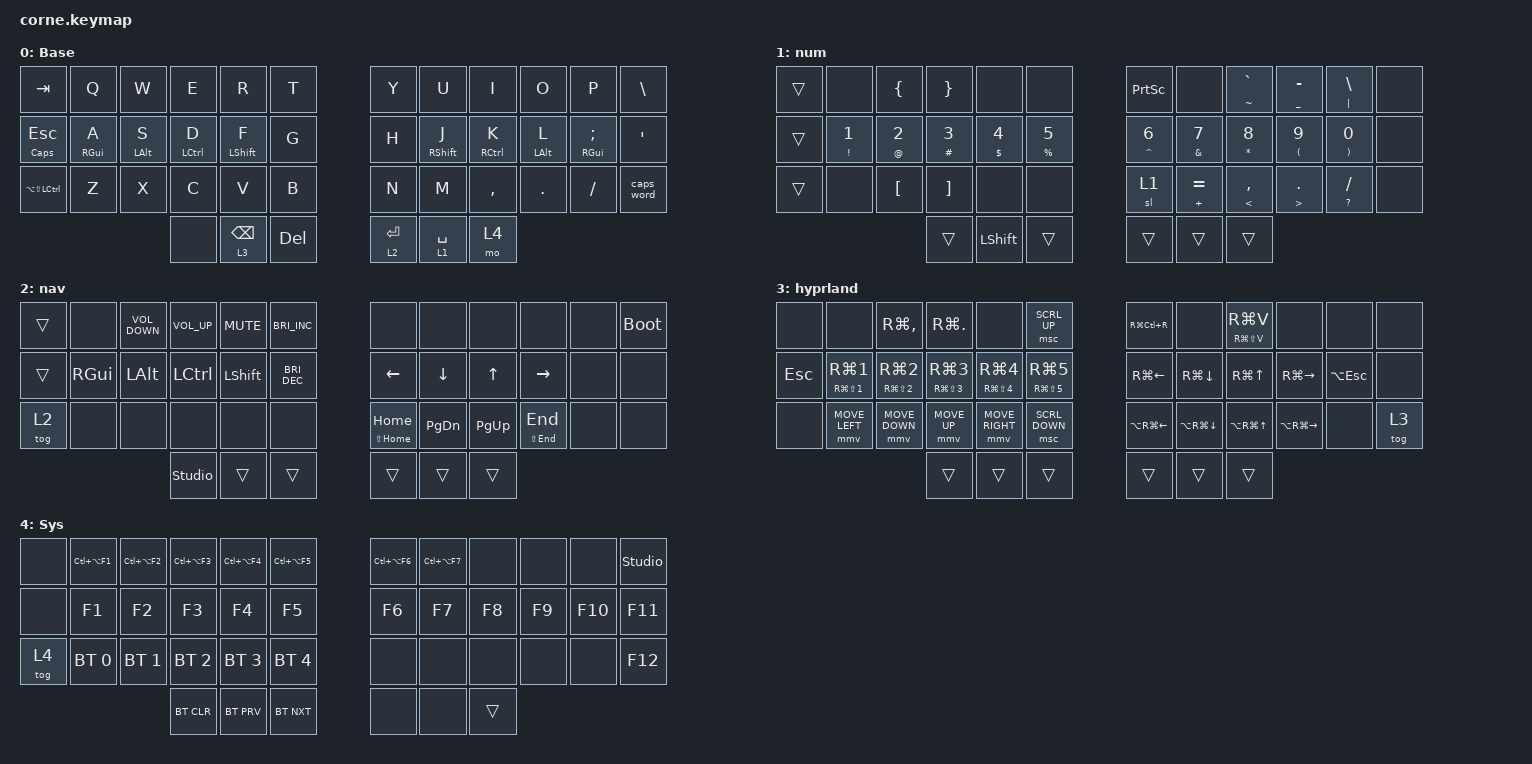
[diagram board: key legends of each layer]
#include <behaviors.dtsi>
#include <dt-bindings/zmk/bt.h>
#include <dt-bindings/zmk/keys.h>
#include <dt-bindings/zmk/pointing.h>

#define DEF 0
#define NAV 1
#define SYM 2
#define ADJ 3
#define EXTRA 4

/ {
    behaviors {
        hm: homerow_mods {
            compatible = "zmk,behavior-hold-tap";
            label = "HOMEROW_MODS";
            #binding-cells = <2>;
            tapping-term-ms = <200>;
            quick_tap_ms = <0>;
            flavor = "tap-preferred";
            bindings = <&kp>, <&kp>;

            quick-tap-ms = <180>;
            global-quick-tap;
        };

        para: para {
            compatible = "zmk,behavior-tap-dance";
            label = "PARA";
            #binding-cells = <0>;
            bindings = <&kp LEFT_PARENTHESIS>, <&kp RIGHT_PARENTHESIS>;
        };

        caps: caps {
            compatible = "zmk,behavior-caps-word";
            label = "CAPS";
            #binding-cells = <0>;
            continue-list = <MINUS BACKSPACE>;
        };

        paraless: paraless {
            compatible = "zmk,behavior-mod-morph";
            label = "PARALESS";
            bindings = <&kp LEFT_PARENTHESIS>, <&kp LESS_THAN>;

            #binding-cells = <0>;
            mods = <(MOD_LSFT)>;
        };

        paragreat: paragreat {
            compatible = "zmk,behavior-mod-morph";
            label = "PARAGREAT";
            bindings = <&kp RIGHT_PARENTHESIS>, <&kp GREATER_THAN>;

            #binding-cells = <0>;
            mods = <(MOD_LSFT)>;
        };
    };

    macros {
        browsertab: browsertab {
            compatible = "zmk,behavior-macro";
            #binding-cells = <0>;
            bindings =
                <&macro_press>,
                <&kp LCTRL>,
                <&macro_tap>,
                <&kp TAB>,
                <&macro_release>,
                <&kp LCTRL>;
        };
    };

    combos {
        compatible = "zmk,combos";

        escape {
            bindings = <&kp ESCAPE>;
            key-positions = <13 29>;
        };

        delete {
            bindings = <&kp DELETE>;
            key-positions = <15 21>;
        };

        perc {
            bindings = <&kp PERCENT>;
            key-positions = <5 17>;
        };

        equal {
            bindings = <&kp EQUAL>;
            key-positions = <28 16>;
        };

        dollar {
            bindings = <&kp DOLLAR>;
            key-positions = <4 16>;
        };

        pound {
            bindings = <&kp POUND>;
            key-positions = <3 15>;
        };

        at {
            bindings = <&kp AT>;
            key-positions = <2 14>;
        };

        backslash {
            bindings = <&kp BACKSLASH>;
            key-positions = <26 14>;
        };

        copy {
            bindings = <&kp K_COPY>;
            key-positions = <28 27>;
        };

        paste {
            bindings = <&kp K_PASTE>;
            key-positions = <26 27>;
        };

        star {
            bindings = <&kp STAR>;
            key-positions = <8 20>;
        };

        slash {
            bindings = <&kp SLASH>;
            key-positions = <32 20>;
        };

        plus {
            bindings = <&kp PLUS>;
            key-positions = <7 19>;
        };

        minus {
            bindings = <&kp KP_MINUS>;
            key-positions = <31 19>;
        };

        underscore {
            bindings = <&kp UNDER>;
            key-positions = <30 18>;
        };

        leftbrack {
            bindings = <&kp LEFT_BRACKET>;
            key-positions = <31 32>;
        };

        rightbrack {
            bindings = <&kp RIGHT_BRACKET>;
            key-positions = <33 32>;
        };

        para-less {
            bindings = <&paraless>;
            key-positions = <20 19>;
        };

        para-great {
            bindings = <&paragreat>;
            key-positions = <20 21>;
        };
    };

    //

    keymap {
        compatible = "zmk,keymap";

        BASE {
            display-name = "Base";

            // -----------------------------------------------------------------------------------------
            // |  Q  |  W  |  E  |  R  |  T  |   |  Y  |  U   |  I  |  O  |  P  |
            // |  A  |  S  |  D  |  F  |  G  |   |  H  |  J   |  K  |  L  |  ;  |
            // |  Z  |  X  |  C  |  V  |  B  |   |  N  |  M   |  ,  |  .  |  /  |
            // | GUI | CTRL | SHFT | LWR | SPC |   | ENT | RSE  | BKSP | ALT | ESC |

            bindings = <
&kp TAB              &kp Q            &kp W           &kp E               &kp R             &kp T         &kp Y         &kp U              &kp I                &kp O           &kp P               &kp BACKSLASH
&hm CAPSLOCK ESCAPE  &hm RIGHT_GUI A  &hm LEFT_ALT S  &hm LEFT_CONTROL D  &hm LEFT_SHIFT F  &kp G         &kp H         &hm RIGHT_SHIFT J  &hm RIGHT_CONTROL K  &hm LEFT_ALT L  &hm RIGHT_GUI SEMI  &kp SQT
&kp LA(LS(LCTRL))    &kp Z            &kp X           &kp C               &kp V             &kp B         &kp N         &kp M              &kp COMMA            &kp DOT         &kp FSLH            &caps_word
                                                      &none               &lt 3 BACKSPACE   &kp DELETE    &lt 2 RETURN  &lt 1 SPACE        &mo 4
            >;
        };

        SYMNUM {
            display-name = "num";

            // -----------------------------------------------------------------------------------------
            // |  TAB |  1  |  2  |  3  |  4  |  5  |   |  6  |  7  |  8  |  9  |  0  | BKSP |
            // | BTCLR| BT1 | BT2 | BT3 | BT4 | BT5 |   | LFT | DWN |  UP | RGT |     |      |
            // | SHFT |     |     |     |     |     |   |     |     |     |     |     |      |
            // | GUI | CTRL | SHFT | LWR | SPC |   | ENT | RSE  | BKSP | ALT | ESC |

            bindings = <
&trans  &none        &kp LBRC   &kp RBRC     &none           &none           &kp PRINTSCREEN  &none           &hm TILDE GRAVE  &hm UNDER MINUS  &hm PIPE BSLH   &none
&trans  &hm EXCL N1  &hm AT N2  &hm HASH N3  &hm DLLR N4     &hm PRCNT N5    &hm CARET N6     &hm AMPS N7     &hm STAR N8      &hm LPAR N9      &hm RPAR N0     &none
&trans  &none        &kp LBKT   &kp RBKT     &none           &none           &sl 1            &hm PLUS EQUAL  &hm LT COMMA     &hm GT DOT       &hm QMARK FSLH  &none
                                &trans       &kp LEFT_SHIFT  &trans          &trans           &trans          &trans
            >;
        };

        BASICNAV {
            display-name = "nav";

            // -----------------------------------------------------------------------------------------
            // |  TAB |  !  |  @  |  #  |  $  |  %  |   |  ^  |  &  |  *  |  (  |  )  | BKSP |
            // | CTRL |     |     |     |     |     |   |  -  |  =  |  [  |  ]  |  \  |  `   |
            // | SHFT |     |     |     |     |     |   |  _  |  +  |  {  |  }  | "|" |  ~   |
            //                    | GUI |     | SPC |   | ENT |     | ALT |

            bindings = <
&trans  &none          &kp K_VOLUME_DOWN  &kp K_VOLUME_UP   &kp K_MUTE      &kp C_BRIGHTNESS_INC    &none              &none          &none        &none            &none  &bootloader
&trans  &kp RIGHT_GUI  &kp LEFT_ALT       &kp LEFT_CONTROL  &kp LEFT_SHIFT  &kp C_BRIGHTNESS_DEC    &kp LEFT           &kp DOWN       &kp UP       &kp RIGHT        &none  &none
&tog 2  &none          &none              &none             &none           &none                   &hm LS(HOME) HOME  &kp PAGE_DOWN  &kp PAGE_UP  &hm LS(END) END  &none  &none
                                          &studio_unlock    &trans          &trans                  &trans             &trans         &trans
            >;
        };

        HYPRNAV {
            display-name = "hyprland";
            bindings = <
&none    &none                  &kp RG(COMMA)          &kp RG(PERIOD)         &none                  &msc SCRL_UP             &kp RG(LC(R))     &none             &hm RG(LS(V)) RG(V)  &none              &none        &none
&kp ESC  &hm RG(LS(N1)) RG(N1)  &hm RG(LS(N2)) RG(N2)  &hm RG(LS(N3)) RG(N3)  &hm RG(LS(N4)) RG(N4)  &hm RG(LS(N5)) RG(N5)    &kp RG(LEFT)      &kp RG(DOWN)      &kp RG(UP)           &kp RG(RIGHT)      &kp LA(ESC)  &none
&none    &mmv MOVE_LEFT         &mmv MOVE_DOWN         &mmv MOVE_UP           &mmv MOVE_RIGHT        &msc SCRL_DOWN           &kp LA(RG(LEFT))  &kp LA(RG(DOWN))  &kp LA(RG(UP))       &kp LA(RG(RIGHT))  &none        &tog 3
                                                       &trans                 &trans                 &trans                   &trans            &trans            &trans
            >;
        };

        SYSLAYER {
            display-name = "Sys";
            bindings = <
&none   &kp LC(LA(F1))  &kp LC(LA(F2))  &kp LC(LA(F3))  &kp LC(LA(F4))  &kp LC(LA(F5))    &kp LC(LA(F6))  &kp LC(LA(F7))  &none   &none   &none    &studio_unlock
&none   &kp F1          &kp F2          &kp F3          &kp F4          &kp F5            &kp F6          &kp F7          &kp F8  &kp F9  &kp F10  &kp F11
&tog 4  &bt BT_SEL 0    &bt BT_SEL 1    &bt BT_SEL 2    &bt BT_SEL 3    &bt BT_SEL 4      &none           &none           &none   &none   &none    &kp F12
                                        &bt BT_CLR      &bt BT_PRV      &bt BT_NXT        &none           &none           &trans
            >;
        };
    };

    conditional_layers { compatible = "zmk,conditional-layers"; };
};
